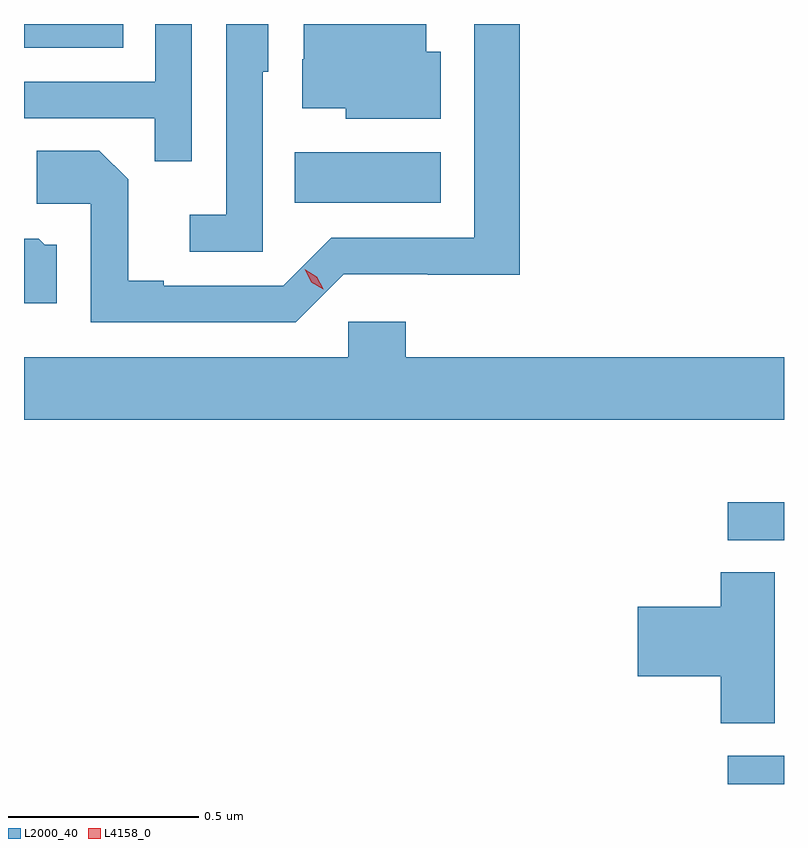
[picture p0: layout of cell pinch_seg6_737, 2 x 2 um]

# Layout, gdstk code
import gdstk
lib = gdstk.Library(unit=1e-6, precision=1e-09)
def R(c, l, rs):  # rectangles x0, y0, x1, y1
    for r in rs: c.add(gdstk.rectangle(r[:2], r[2:], *l))
def P(c, l, *ps):  # polygons
    for p in ps: c.add(gdstk.Polygon(p, *l))
L2000_40 = (2000, 40)
L4158_0 = (4158, 0)

pinch_seg6_737 = lib.new_cell('pinch_seg6_737')
R(pinch_seg6_737, L2000_40, [(603.597,941.049,603.745,941.124), (603.597,941.691,603.745,941.79), (602.458,942.578,602.842,942.712), (601.745,942.987,602.006,943.049)])
P(pinch_seg6_737, L2000_40, [(602.586,942.39),(602.808,942.39),(602.808,942.389),(603.049,942.389),(603.049,943.049),(602.93,943.049),(602.93,942.486),(602.553,942.486),(602.427,942.36),(602.113,942.36),(602.113,942.373),(602.019,942.373),(602.019,942.64),(601.943,942.716),(601.779,942.716),(601.779,942.576),(601.92,942.576),(601.92,942.264),(602.46,942.264)],
  [(602.187,943.049),(602.091,943.049),(602.091,942.897),(601.745,942.897),(601.745,942.801),(602.089,942.801),(602.089,942.688),(602.187,942.688)],
  [(602.842,942.976),(602.803,942.976),(602.803,943.049),(602.481,943.049),(602.481,942.956),(602.477,942.956),(602.477,942.827),(602.592,942.827),(602.592,942.8),(602.842,942.8)],
  [(602.373,942.924),(602.388,942.924),(602.388,943.049),(602.277,943.049),(602.277,942.547),(602.181,942.547),(602.181,942.45),(602.373,942.45)],
  [(601.831,942.468),(601.8,942.468),(601.784,942.484),(601.745,942.484),(601.745,942.314),(601.831,942.314)],
  [(603.745,942.172),(602.75,942.172),(602.75,942.265),(602.598,942.265),(602.598,942.172),(601.745,942.172),(601.745,942.008),(603.745,942.008)],
  [(603.721,941.606),(603.578,941.606),(603.578,941.516),(603.36,941.516),(603.36,941.333),(603.578,941.333),(603.578,941.209),(603.721,941.209)])
P(pinch_seg6_737, L4158_0, [(602.532,942.351),(602.501,942.37),(602.484,942.403),(602.484,942.403),(602.484,942.403),(602.515,942.384),(602.533,942.352),(602.533,942.351)])

lib.write_gds('pinch_seg6_737.gds')
